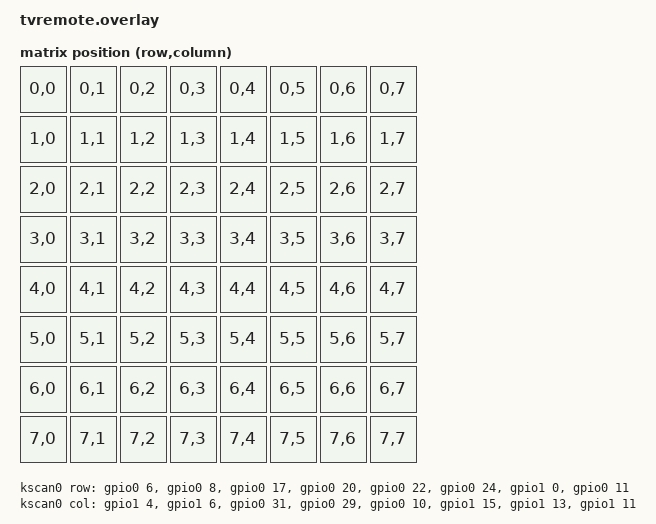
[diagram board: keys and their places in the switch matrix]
/*
 * Sony RMT-V501F remote rebuilt on a SuperMini nRF52840 (nice!nano pinout).
 * The original Samsung S3C80B5 is removed; its pads carry the key matrix:
 * chip port 0 (pads 5-12) reads, chip port 1 (pads 13-20) is scanned.
 * The matrix has no diodes, so the scanned lines are open-drain and active-low,
 * as the original chip drove them: two keys held together can't short two
 * outputs, though a third "ghost" key can still appear.
 *
 * The 8 x 8 grid is a placeholder until the matrix finder has mapped which
 * row/column each button sits on.
 */

#include <dt-bindings/zmk/matrix_transform.h>
#include <physical_layouts.dtsi>

/ {
    chosen {
        zmk,kscan = &kscan0;
        zmk,physical-layout = &physical_layout0;
    };

    zephyr,user {
        // Chip pad 22 (P2.1/REM): the remote's own transistor and IR LED.
        ir-gpios = <&gpio0 2 GPIO_ACTIVE_HIGH>;
    };

    kscan0: kscan {
        compatible = "zmk,kscan-gpio-matrix";
        diode-direction = "col2row";
        wakeup-source;

        col-gpios
            = <&gpio1 4 (GPIO_ACTIVE_LOW | GPIO_OPEN_DRAIN)>   // chip pad 13, SuperMini 104
            , <&gpio1 6 (GPIO_ACTIVE_LOW | GPIO_OPEN_DRAIN)>   // chip pad 14, SuperMini 106
            , <&gpio0 31 (GPIO_ACTIVE_LOW | GPIO_OPEN_DRAIN)>   // chip pad 15, SuperMini 031
            , <&gpio0 29 (GPIO_ACTIVE_LOW | GPIO_OPEN_DRAIN)>   // chip pad 16, SuperMini 029
            , <&gpio0 10 (GPIO_ACTIVE_LOW | GPIO_OPEN_DRAIN)>   // chip pad 17, SuperMini 010
            , <&gpio1 15 (GPIO_ACTIVE_LOW | GPIO_OPEN_DRAIN)>   // chip pad 18, SuperMini 115
            , <&gpio1 13 (GPIO_ACTIVE_LOW | GPIO_OPEN_DRAIN)>   // chip pad 19, SuperMini 113
            , <&gpio1 11 (GPIO_ACTIVE_LOW | GPIO_OPEN_DRAIN)>   // chip pad 20, SuperMini 111
            ;

        row-gpios
            = <&gpio0 6 (GPIO_ACTIVE_LOW | GPIO_PULL_UP)>   // chip pad 5, SuperMini 006
            , <&gpio0 8 (GPIO_ACTIVE_LOW | GPIO_PULL_UP)>   // chip pad 6, SuperMini 008
            , <&gpio0 17 (GPIO_ACTIVE_LOW | GPIO_PULL_UP)>   // chip pad 7, SuperMini 017
            , <&gpio0 20 (GPIO_ACTIVE_LOW | GPIO_PULL_UP)>   // chip pad 8, SuperMini 020
            , <&gpio0 22 (GPIO_ACTIVE_LOW | GPIO_PULL_UP)>   // chip pad 9, SuperMini 022
            , <&gpio0 24 (GPIO_ACTIVE_LOW | GPIO_PULL_UP)>   // chip pad 10, SuperMini 024
            , <&gpio1 0 (GPIO_ACTIVE_LOW | GPIO_PULL_UP)>   // chip pad 11, SuperMini 100
            , <&gpio0 11 (GPIO_ACTIVE_LOW | GPIO_PULL_UP)>   // chip pad 12, SuperMini 011
            ;
    };

    default_transform: matrix_transform {
        compatible = "zmk,matrix-transform";
        columns = <8>;
        rows = <8>;
        map = <
            RC(0,0) RC(0,1) RC(0,2) RC(0,3) RC(0,4) RC(0,5) RC(0,6) RC(0,7)
            RC(1,0) RC(1,1) RC(1,2) RC(1,3) RC(1,4) RC(1,5) RC(1,6) RC(1,7)
            RC(2,0) RC(2,1) RC(2,2) RC(2,3) RC(2,4) RC(2,5) RC(2,6) RC(2,7)
            RC(3,0) RC(3,1) RC(3,2) RC(3,3) RC(3,4) RC(3,5) RC(3,6) RC(3,7)
            RC(4,0) RC(4,1) RC(4,2) RC(4,3) RC(4,4) RC(4,5) RC(4,6) RC(4,7)
            RC(5,0) RC(5,1) RC(5,2) RC(5,3) RC(5,4) RC(5,5) RC(5,6) RC(5,7)
            RC(6,0) RC(6,1) RC(6,2) RC(6,3) RC(6,4) RC(6,5) RC(6,6) RC(6,7)
            RC(7,0) RC(7,1) RC(7,2) RC(7,3) RC(7,4) RC(7,5) RC(7,6) RC(7,7)
        >;
    };

    physical_layout0: physical_layout_0 {
        compatible = "zmk,physical-layout";
        display-name = "TV Remote";
        transform = <&default_transform>;
        keys
            = <&key_physical_attrs 100 100    0    0 0 0 0>
            , <&key_physical_attrs 100 100  100    0 0 0 0>
            , <&key_physical_attrs 100 100  200    0 0 0 0>
            , <&key_physical_attrs 100 100  300    0 0 0 0>
            , <&key_physical_attrs 100 100  400    0 0 0 0>
            , <&key_physical_attrs 100 100  500    0 0 0 0>
            , <&key_physical_attrs 100 100  600    0 0 0 0>
            , <&key_physical_attrs 100 100  700    0 0 0 0>
            , <&key_physical_attrs 100 100    0  100 0 0 0>
            , <&key_physical_attrs 100 100  100  100 0 0 0>
            , <&key_physical_attrs 100 100  200  100 0 0 0>
            , <&key_physical_attrs 100 100  300  100 0 0 0>
            , <&key_physical_attrs 100 100  400  100 0 0 0>
            , <&key_physical_attrs 100 100  500  100 0 0 0>
            , <&key_physical_attrs 100 100  600  100 0 0 0>
            , <&key_physical_attrs 100 100  700  100 0 0 0>
            , <&key_physical_attrs 100 100    0  200 0 0 0>
            , <&key_physical_attrs 100 100  100  200 0 0 0>
            , <&key_physical_attrs 100 100  200  200 0 0 0>
            , <&key_physical_attrs 100 100  300  200 0 0 0>
            , <&key_physical_attrs 100 100  400  200 0 0 0>
            , <&key_physical_attrs 100 100  500  200 0 0 0>
            , <&key_physical_attrs 100 100  600  200 0 0 0>
            , <&key_physical_attrs 100 100  700  200 0 0 0>
            , <&key_physical_attrs 100 100    0  300 0 0 0>
            , <&key_physical_attrs 100 100  100  300 0 0 0>
            , <&key_physical_attrs 100 100  200  300 0 0 0>
            , <&key_physical_attrs 100 100  300  300 0 0 0>
            , <&key_physical_attrs 100 100  400  300 0 0 0>
            , <&key_physical_attrs 100 100  500  300 0 0 0>
            , <&key_physical_attrs 100 100  600  300 0 0 0>
            , <&key_physical_attrs 100 100  700  300 0 0 0>
            , <&key_physical_attrs 100 100    0  400 0 0 0>
            , <&key_physical_attrs 100 100  100  400 0 0 0>
            , <&key_physical_attrs 100 100  200  400 0 0 0>
            , <&key_physical_attrs 100 100  300  400 0 0 0>
            , <&key_physical_attrs 100 100  400  400 0 0 0>
            , <&key_physical_attrs 100 100  500  400 0 0 0>
            , <&key_physical_attrs 100 100  600  400 0 0 0>
            , <&key_physical_attrs 100 100  700  400 0 0 0>
            , <&key_physical_attrs 100 100    0  500 0 0 0>
            , <&key_physical_attrs 100 100  100  500 0 0 0>
            , <&key_physical_attrs 100 100  200  500 0 0 0>
            , <&key_physical_attrs 100 100  300  500 0 0 0>
            , <&key_physical_attrs 100 100  400  500 0 0 0>
            , <&key_physical_attrs 100 100  500  500 0 0 0>
            , <&key_physical_attrs 100 100  600  500 0 0 0>
            , <&key_physical_attrs 100 100  700  500 0 0 0>
            , <&key_physical_attrs 100 100    0  600 0 0 0>
            , <&key_physical_attrs 100 100  100  600 0 0 0>
            , <&key_physical_attrs 100 100  200  600 0 0 0>
            , <&key_physical_attrs 100 100  300  600 0 0 0>
            , <&key_physical_attrs 100 100  400  600 0 0 0>
            , <&key_physical_attrs 100 100  500  600 0 0 0>
            , <&key_physical_attrs 100 100  600  600 0 0 0>
            , <&key_physical_attrs 100 100  700  600 0 0 0>
            , <&key_physical_attrs 100 100    0  700 0 0 0>
            , <&key_physical_attrs 100 100  100  700 0 0 0>
            , <&key_physical_attrs 100 100  200  700 0 0 0>
            , <&key_physical_attrs 100 100  300  700 0 0 0>
            , <&key_physical_attrs 100 100  400  700 0 0 0>
            , <&key_physical_attrs 100 100  500  700 0 0 0>
            , <&key_physical_attrs 100 100  600  700 0 0 0>
            , <&key_physical_attrs 100 100  700  700 0 0 0>
            ;
    };
};
